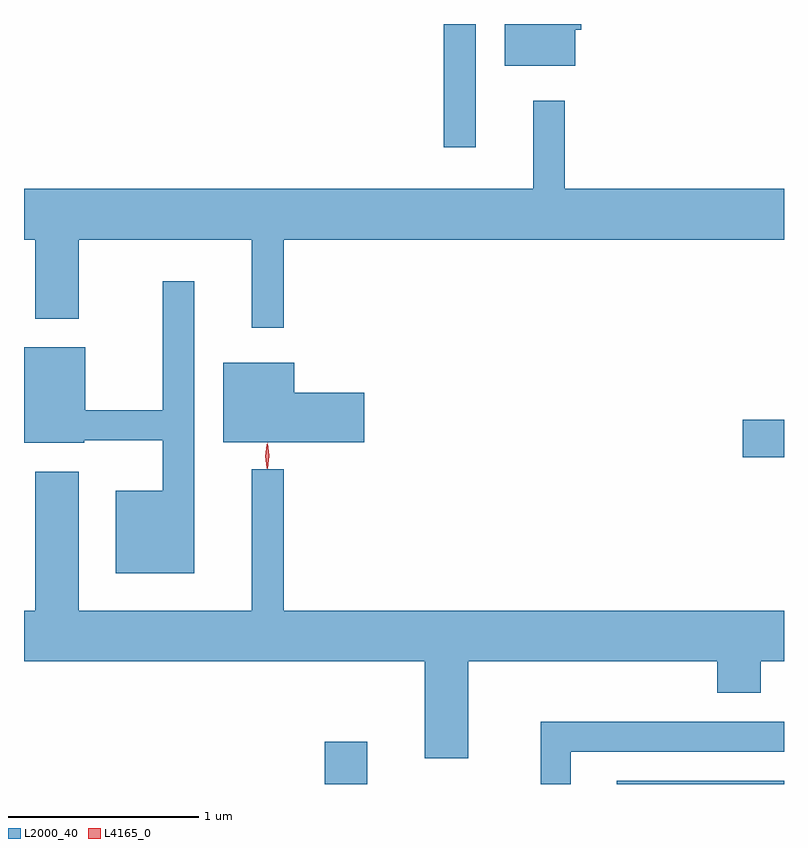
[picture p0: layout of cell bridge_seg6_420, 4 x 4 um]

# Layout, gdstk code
import gdstk
lib = gdstk.Library(unit=1e-6, precision=1e-09)
def R(c, l, rs):  # rectangles x0, y0, x1, y1
    for r in rs: c.add(gdstk.rectangle(r[:2], r[2:], *l))
def P(c, l, *ps):  # polygons
    for p in ps: c.add(gdstk.Polygon(p, *l))
L2000_40 = (2000, 40)
L4165_0 = (4165, 0)

bridge_seg6_420 = lib.new_cell('bridge_seg6_420')
R(bridge_seg6_420, L2000_40, [(827.636,1651.511,827.859,1651.734), (829.173,1651.511,830.052,1651.529), (829.836,1653.231,830.052,1653.429), (828.261,1654.863,828.429,1655.511)])
P(bridge_seg6_420, L2000_40, [(828.954,1655.481),(828.984,1655.481),(828.984,1655.511),(828.581,1655.511),(828.581,1655.291),(828.954,1655.291)],
  [(827.419,1654.376),(830.052,1654.376),(830.052,1654.644),(828.899,1654.644),(828.899,1655.108),(828.731,1655.108),(828.731,1654.644),(826.052,1654.644),(826.052,1654.376),(826.111,1654.376),(826.111,1653.961),(826.339,1653.961),(826.339,1654.376),(827.251,1654.376),(827.251,1653.913),(827.419,1653.913)],
  [(826.949,1654.158),(826.781,1654.158),(826.781,1653.479),(826.374,1653.479),(826.374,1653.809),(826.052,1653.809),(826.052,1653.306),(826.37,1653.306),(826.37,1653.321),(826.781,1653.321),(826.781,1653.054),(826.536,1653.054),(826.536,1652.621),(826.949,1652.621)],
  [(827.844,1653.569),(827.474,1653.569),(827.474,1653.729),(827.101,1653.729),(827.101,1653.311),(827.844,1653.311)],
  [(828.389,1652.156),(829.701,1652.156),(829.701,1651.991),(829.929,1651.991),(829.929,1652.156),(830.052,1652.156),(830.052,1652.424),(827.419,1652.424),(827.419,1653.168),(827.251,1653.168),(827.251,1652.424),(826.339,1652.424),(826.339,1653.154),(826.111,1653.154),(826.111,1652.424),(826.052,1652.424),(826.052,1652.156),(828.161,1652.156),(828.161,1651.646),(828.389,1651.646)],
  [(828.929,1651.681),(830.052,1651.681),(830.052,1651.839),(828.771,1651.839),(828.771,1651.511),(828.929,1651.511)])
P(bridge_seg6_420, L4165_0, [(827.334,1653.17),(827.325,1653.238),(827.334,1653.305),(827.334,1653.306),(827.335,1653.305),(827.344,1653.238),(827.335,1653.17),(827.335,1653.17)],
  [(827.331,1653.173),(827.33,1653.174),(827.321,1653.236),(827.33,1653.3),(827.33,1653.3),(827.331,1653.3),(827.341,1653.236),(827.331,1653.174)])

lib.write_gds('bridge_seg6_420.gds')
